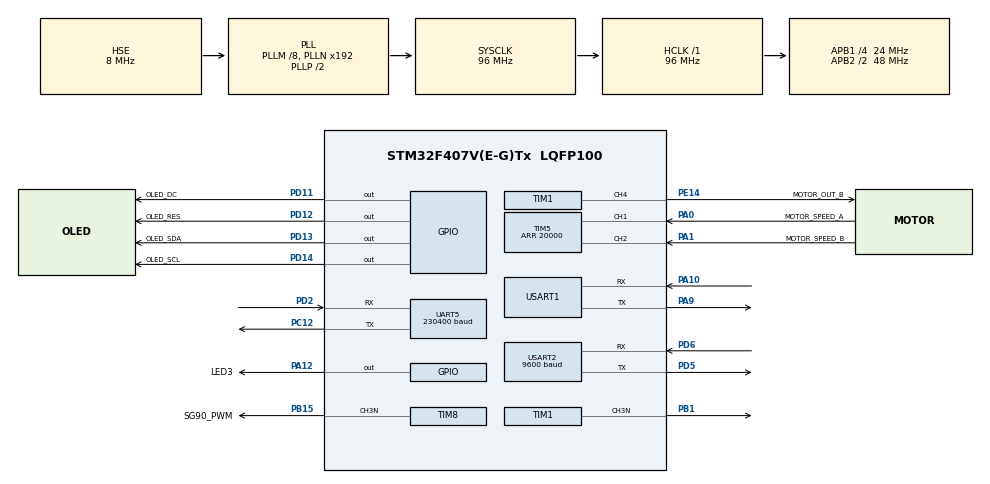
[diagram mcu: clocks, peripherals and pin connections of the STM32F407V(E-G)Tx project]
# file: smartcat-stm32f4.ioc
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Mcu.Family=STM32F4
Mcu.Name=STM32F407V(E-G)Tx
Mcu.Package=LQFP100
NVIC.PriorityGroup=NVIC_PRIORITYGROUP_4
NVIC.TIM3_IRQn=true\:0\:0\:false\:false\:true\:true\:true\:true
NVIC.TIM5_IRQn=true\:0\:0\:false\:false\:true\:true\:true\:true
NVIC.UART5_IRQn=true\:0\:0\:false\:false\:true\:true\:true\:true
NVIC.USART1_IRQn=true\:0\:0\:false\:false\:true\:true\:true\:true
NVIC.USART2_IRQn=true\:0\:0\:false\:false\:true\:true\:true\:true
PA0-WKUP.GPIO_Label=MOTOR_SPEED_A
PA0-WKUP.GPIO_PuPd=GPIO_PULLDOWN
PA0-WKUP.Signal=S_TIM5_CH1
PA1.GPIO_Label=MOTOR_SPEED_B
PA1.GPIO_PuPd=GPIO_PULLDOWN
PA1.Signal=S_TIM5_CH2
PA10.Mode=Asynchronous
PA10.Signal=USART1_RX
PA12.GPIO_Label=LED3
PA12.GPIO_PuPd=GPIO_PULLUP
PA12.Signal=GPIO_Output
PA13.Mode=Serial_Wire
PA13.Signal=SYS_JTMS-SWDIO
PA14.Mode=Serial_Wire
PA14.Signal=SYS_JTCK-SWCLK
PA9.Mode=Asynchronous
PA9.Signal=USART1_TX
PB1.Mode=PWM Generation3 CH3N
PB1.Signal=TIM1_CH3N
PB15.GPIO_Label=SG90_PWM
PB15.Mode=PWM Generation3 CH3N
PB15.Signal=TIM8_CH3N
PB3.GPIO_Label=MONTO_SPEED_B
PB3.GPIO_PuPd=GPIO_PULLUP
PB3.Signal=S_TIM2_CH2
PC12.Mode=Asynchronous
PC12.Signal=UART5_TX
PC14-OSC32_IN.Mode=LSE-External-Oscillator
PC14-OSC32_IN.Signal=RCC_OSC32_IN
PC15-OSC32_OUT.Mode=LSE-External-Oscillator
PC15-OSC32_OUT.Signal=RCC_OSC32_OUT
PD11.GPIO_Label=OLED_DC
PD11.GPIO_ModeDefaultOutputPP=GPIO_MODE_OUTPUT_PP
PD11.GPIO_PuPd=GPIO_NOPULL
PD11.GPIO_Speed=GPIO_SPEED_FREQ_HIGH
PD11.PinState=GPIO_PIN_SET
PD11.Signal=GPIO_Output
PD12.GPIO_Label=OLED_RES
PD12.GPIO_ModeDefaultOutputPP=GPIO_MODE_OUTPUT_PP
PD12.GPIO_PuPd=GPIO_NOPULL
PD12.GPIO_Speed=GPIO_SPEED_FREQ_HIGH
PD12.PinState=GPIO_PIN_SET
PD12.Signal=GPIO_Output
PD13.GPIO_Label=OLED_SDA
PD13.GPIO_ModeDefaultOutputPP=GPIO_MODE_OUTPUT_PP
PD13.GPIO_PuPd=GPIO_NOPULL
PD13.GPIO_Speed=GPIO_SPEED_FREQ_HIGH
PD13.PinState=GPIO_PIN_SET
PD13.Signal=GPIO_Output
PD14.GPIO_Label=OLED_SCL
PD14.GPIO_ModeDefaultOutputPP=GPIO_MODE_OUTPUT_PP
PD14.GPIO_PuPd=GPIO_NOPULL
PD14.GPIO_Speed=GPIO_SPEED_FREQ_HIGH
PD14.PinState=GPIO_PIN_SET
PD14.Signal=GPIO_Output
PD2.Mode=Asynchronous
PD2.Signal=UART5_RX
PD5.Mode=Asynchronous
PD5.Signal=USART2_TX
PD6.Mode=Asynchronous
PD6.Signal=USART2_RX
PE13.GPIO_Label=MOTOR_OUT_A
PE13.Signal=S_TIM1_CH3
PE14.GPIO_Label=MOTOR_OUT_B
PE14.Signal=S_TIM1_CH4
PH0-OSC_IN.Mode=HSE-External-Oscillator
PH0-OSC_IN.Signal=RCC_OSC_IN
PH1-OSC_OUT.Mode=HSE-External-Oscillator
PH1-OSC_OUT.Signal=RCC_OSC_OUT
ProjectManager.HeapSize=0x200
ProjectManager.StackSize=0x400
ProjectManager.TargetToolchain=MDK-ARM V5.32
RCC.48MHZClocksFreq_Value=48000000
RCC.AHBFreq_Value=96000000
RCC.APB1CLKDivider=RCC_HCLK_DIV4
RCC.APB1Freq_Value=24000000
RCC.APB1TimFreq_Value=48000000
RCC.APB2CLKDivider=RCC_HCLK_DIV2
RCC.APB2Freq_Value=48000000
RCC.APB2TimFreq_Value=96000000
RCC.CortexFreq_Value=96000000
RCC.HCLKFreq_Value=96000000
RCC.HSE_VALUE=8000000
RCC.HSI_VALUE=16000000
RCC.PLLM=8
RCC.PLLSourceVirtual=RCC_PLLSOURCE_HSE
RCC.SYSCLKFreq_VALUE=96000000
RCC.SYSCLKSource=RCC_SYSCLKSOURCE_PLLCLK
RCC.VCOOutputFreq_Value=192000000
SH.S_TIM1_CH3.0=TIM1_CH3
SH.S_TIM1_CH4.0=TIM1_CH4,PWM Generation4 CH4
SH.S_TIM2_CH2.0=TIM2_CH2
SH.S_TIM5_CH1.0=TIM5_CH1,Encoder_Interface
SH.S_TIM5_CH2.0=TIM5_CH2,Encoder_Interface
TIM1.AutoReloadPreload=TIM_AUTORELOAD_PRELOAD_ENABLE
TIM1.Channel-PWM\ Generation3\ CH3N=TIM_CHANNEL_3
TIM1.Channel-PWM\ Generation4\ CH4=TIM_CHANNEL_4
TIM1.Period=20000-1
TIM1.Prescaler=96-1
TIM1.Pulse-PWM\ Generation4\ CH4=500
TIM3.AutoReloadPreload=TIM_AUTORELOAD_PRELOAD_ENABLE
TIM3.Period=10000-1
TIM3.Prescaler=480-1
TIM5.AutoReloadPreload=TIM_AUTORELOAD_PRELOAD_ENABLE
TIM5.EncoderMode=TIM_ENCODERMODE_TI12
TIM5.IC1Filter=15
TIM5.IC2Filter=15
TIM5.Period=20000
TIM8.AutoReloadPreload=TIM_AUTORELOAD_PRELOAD_ENABLE
TIM8.Channel-PWM\ Generation3\ CH3=TIM_CHANNEL_3
TIM8.Channel-PWM\ Generation3\ CH3N=TIM_CHANNEL_3
TIM8.Channel-PWM\ Generation4\ CH4=TIM_CHANNEL_4
TIM8.Period=20000-1
TIM8.Prescaler=96-1
UART5.BaudRate=230400
UART5.Mode=MODE_RX
UART5.VirtualMode=Asynchronous
USART1.VirtualMode=VM_ASYNC
USART2.BaudRate=9600
USART2.VirtualMode=VM_ASYNC
VP_TIM1_VS_ClockSourceINT.Mode=Internal
VP_TIM3_VS_ClockSourceINT.Mode=Internal
VP_TIM8_VS_ClockSourceINT.Mode=Internal
board=custom

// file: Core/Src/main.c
/* USER CODE BEGIN Header */
/**
  ******************************************************************************
  * @file           : main.c
  * @brief          : Main program body
  ******************************************************************************
  * @attention
  *
  * Copyright (c) 2024 STMicroelectronics.
  * All rights reserved.
  *
  * This software is licensed under terms that can be found in the LICENSE file
  * in the root directory of this software component.
  * If no LICENSE file comes with this software, it is provided AS-IS.
  *
  ******************************************************************************
  */
/* USER CODE END Header */
#include "main.h"
#include "tim.h"
#include "usart.h"
#include "gpio.h"
#include "math.h"

#include "tern.h"
#include "linearRegression.h"
/* USER CODE BEGIN Includes */
#include "sg90.h"
#include "ms200.h"
#include "motor.h"
#include "oled.h"
#include "spcp.h"
#include "pid.h"
#include "string.h"
/* USER CODE END Includes */

/* USER CODE BEGIN PD */

/*
 * 变量和宏定义区
 * 下面是一些用于控制小车行为的参数和常量。
 * 每个宏后面都加了注释，方便理解其作用。
 */
#define NEAR_NUM 10 // 近距离判断的点数
#define DEFAULT_WARRING_DISTANCE 200 // 如果测距小于200mm，倒车
#define DEFAULT_SPEED 60 // 连续拐弯时的速度
#define DEFAULT_LOW_SPEED 60 // 转弯时的速度
#define DEFAULT_HIGH_SPEED 80 // 直道时的速度
#define DEFAULT_HIGH_DISTANCE 2000 // 最大速度对应的前方距离
#define DEFAULT_BACK_ANGLE 0 // 默认倒车转角
#define DEFAULT_AFTER_BACK_ANGLE 30 // 默认倒车后偏离的角度
#define DEFAULT_BACK_SPEED 75 // 默认倒车速度
#define DEFAULT_BACK_HIGH_SPEED 100 // 倒车时的高速
#define DEFAULT_BACK_TIMER 1000 // 默认倒退时间
#define DEFAULT_BACK_DISTANCE 450 // 默认车后距离不小于DEFAULT_BACK_DISTANCE
#define DEFAULT_STOP_SPEED -100 // 紧急止动速度
#define DEFAULT_RR_COEFFICIENT 0.5 // 右转系数
#define FRONT_JUDGE_POINTS 20 // 前方转角距离判断个数
#define CAR_LONG 40 // 小车长度，单位mm
#define CAR_WIDE 25 // 小车宽度，单位mm
#define MS200_DISTANCE_FRONT 5 // 激光雷达到车前的距离
#define MS200_DISTANCE_REAR 35 // 激光雷达到车后的距离
#define MS200_DISTANCE_SIDE 12 // 激光雷达到车侧的距离

/* -------------- 停车判断可调宏 --------------- */

// #define STOP_THR 20// 停车阈值，单位 mm
// #define CACHE_FRM 6//取点间隔
// #define point_number 5//取点数

#define STOP_62 132.0f
#define STOP_160 353.0f
#define STOP_203 350.0f
#define STOP_300 151.0f
#define back_time 12   //倒车时间戳
#define stop_woring 16.0f
#define start_time 120 //启动的时间戳，单位为循环的次数，实际调试时候去改变
#define left_woring 13.0f //左侧告警距离
#define right_woring 13.0f //右侧告警距离
/* -------------------------------------- */

/* USER CODE END PD */

void SystemClock_Config(void);

/* USER CODE BEGIN 0 */
 //定义处理雷达返回数据点的数量
#define SIZE 9
 //定义一个结构体来存储数据点的坐标
/*
 * DataPoint结构体
 * 用于存储激光雷达返回的点的坐标（x, y）
 */
typedef struct {
    double xDistance; // x方向距离
    double yDistance; // y方向距离
} DataPoint;
//定义一个DataPoint数组来存雷达返回数据点据点的坐标

/*
 * LidarRightpoints/LidarLeftpoints
 * 存储右侧/左侧激光雷达点的坐标
 */
DataPoint LidarRightpoints[SIZE + 1];
DataPoint LidarLeftpoints[SIZE + 1];
DataPoint Last_LidarRightpoints[SIZE + 1];
DataPoint Last_LidarLeftpoints[SIZE + 1];
MS200_Point* points;
 //定义线性回归的参数（斜率a和截距b）
/*
 * 线性回归参数
 * a为斜率，b为截距
 */
 double Right_a=0.0f;
 double Right_b=0.0f;

 double Left_a=0.0f;
 double Left_b=0.0f;
 /*
 * 不同场景下的转角PID参数
 * angle_pid_1: 直道
 * angle_pid_2: 普通弯道
 * angle_pid_3: 急弯
 */
static float angle_pid_1[3] = { 0.2,0.1};
static float angle_pid_2[3] = { 0.4,0.2};
 //定义存储从20degree开始逐次增加5，至60degree的正余弦值
/*
 * 预先计算好的正弦和余弦值数组
 * 用于将极坐标转换为直角坐标
 */
static double sin_values[9] = {
    0.3420201433, 0.4226182617, 0.5000000000,
    0.5735764364, 0.6427876097, 0.7071067812,
    0.7660444431, 0.8191520443, 0.8660254038
};
static double cos_values[9] = {
    0.9396926208, 0.9063077870, 0.8660254038,
    0.8191520443, 0.7660444431, 0.7071067812,
    0.6427876097, 0.5735764364, 0.5000000000
};
static float Kp, Kd;
/*
 * UART接收完成回调函数
 * 主要用于处理激光雷达数据
 * huart: 串口句柄
 */
void HAL_UART_RxCpltCallback(UART_HandleTypeDef *huart)
{
    if(huart->Instance == UART5)
    {
        MS200_ReceiveProcess();
    }
}

/* USER CODE END 0 */

/*
 * 激光雷达数据丢失点处理函数
 * i: 当前点的索引
 * points: 激光雷达点数组
 * currentData: 当前点的距离
 * lastData: 上一个有效点的距离
 */
void judge_data_abondan(int i , MS200_Point* points , float *currentData , float *lastData){
    *currentData = points[i].distance / 10;
    if(*currentData != 0){
        *lastData = *currentData;
    }
		else{
        if(*lastData != 0)
            *currentData = *lastData;
        else
            *currentData = 1;
    }
}

#define WINDOW_SIZE 7       // 窗口大小（建议奇数，对称窗口）
#define MAX_JUMP_DISTANCE 0.5f  // 使用float常量（f后缀）
//可以进一步优化，使用其他更为优化的算法
void robustSlidingWindowFilter(DataPoint* points, int size) {
    int i, j;
    for (i = WINDOW_SIZE/2; i < size-WINDOW_SIZE/2; i++) {
        float sum_x = 0.0f, sum_y = 0.0f;  // 改用float节省资源
        int valid_count = 0;

        // 检查窗口内每个点是否合理
        for (j = -WINDOW_SIZE/2; j <= WINDOW_SIZE/2; j++) {
            float dist_prev = hypotf(points[i+j-1].xDistance, points[i+j-1].yDistance); // 使用float版本
            float dist_curr = hypotf(points[i+j].xDistance, points[i+j].yDistance);

            // 跳变检测
            if (fabsf(dist_curr - dist_prev) < MAX_JUMP_DISTANCE) { // 使用float版本
                sum_x += points[i+j].xDistance;
                sum_y += points[i+j].yDistance;
                valid_count++;
            }
        }

        // 有效点足够时更新（至少需要窗口一半的有效点）
        if (valid_count > WINDOW_SIZE/2) {  // > 而非 >=，更严格
            points[i].xDistance = sum_x / valid_count;
            points[i].yDistance = sum_y / valid_count;
        }
    }
}

/*
 * 曲率计算函数
 * 用于判断赛道的弯曲程度
 * points: 点数组
 * size: 点的数量
 * a, b: 拟合直线的参数
 * 返回值: 曲率
 */
float calculateCurvature2D(DataPoint* points, int size, double a, double b) {
    float curvature = 0;
    for (int i = 0; i < size; ++i) {
        float y_pred = a * points[i].xDistance + b;
        curvature += pow(points[i].yDistance - y_pred, 2);
    }
    return curvature / size;
}

/*
 * 曲线拟合函数（最小二乘法）
 * 对一组点进行线性拟合，得到斜率a和截距b
 * points: 点数组
 * size: 点的数量
 * a: 输出斜率
 * b: 输出截距
 */

void curveFitting2D(DataPoint* points, int size, double* a, double* b) {
    double sum_x = 0, sum_y = 0, sum_x2 = 0, sum_xy = 0;
    for (int i = 0; i < size; ++i) {
			if(points[i].xDistance == 0){
				if(i == 0){
					points[i].xDistance = points[i + 1].xDistance;
				}

				else if(i == size - 1){
					points[i].xDistance = points[i - 1].xDistance;
				}
				else{
					points[i].xDistance = (points[i + 1].xDistance + points[i - 1].xDistance) / 2;
				}
			}
			if(points[i].yDistance == 0){
				if(i == 0){
					points[i].yDistance = points[i + 1].yDistance;
				}

				else if(i == size - 1){
					points[i].yDistance = points[i - 1].yDistance;
				}
				else{
					points[i].yDistance = (points[i + 1].yDistance + points[i - 1].yDistance) / 2;
				}
			}

        sum_x += points[i].xDistance;
        sum_y += points[i].yDistance;
        sum_x2 += points[i].xDistance * points[i].xDistance;
        sum_xy += points[i].xDistance * points[i].yDistance;
    }
    double denominator = size * sum_x2 - sum_x * sum_x;
		if (fabs(denominator) < 1e-6) {
        *a = 0;
        *b = (size > 0) ? sum_y / size : 0;
        return;
    }
    *a = (size * sum_xy - sum_x * sum_y) / denominator;
    *b = (sum_y * sum_x2 - sum_x * sum_xy) / denominator;
}

static float curvatureLeft;
static float curvatureRight;
static int speed;
static int mode=1;
//pid选择函数
//根据曲率选择pid参数
void pid_select(){
    for(int i=0;i<SIZE;i++){
				LidarRightpoints[i].xDistance = points[20 + i * 5].distance  * cos_values[i];
				LidarRightpoints[i].yDistance = points[20 + i * 5].distance  * sin_values[i];
				//如果非零，记录下来
				if(LidarRightpoints[i].xDistance != 0){
					Last_LidarRightpoints[i].xDistance = LidarRightpoints[i].xDistance;
					//如果为零，设为上次记录
				}else{
					LidarRightpoints[i].xDistance = Last_LidarRightpoints[i].xDistance;
				}

				if(LidarRightpoints[i].yDistance != 0){
					Last_LidarRightpoints[i].yDistance = LidarRightpoints[i].yDistance;
				}else{
					LidarRightpoints[i].yDistance = Last_LidarRightpoints[i].yDistance;
				}

				LidarLeftpoints[i].xDistance = points[340 - i * 5].distance  * cos_values[i];
				LidarLeftpoints[i].yDistance = points[340 - i * 5].distance  * sin_values[i];

				if(LidarLeftpoints[i].xDistance != 0){
					Last_LidarLeftpoints[i].xDistance = LidarLeftpoints[i].xDistance;
				}else{
					LidarLeftpoints[i].xDistance = Last_LidarLeftpoints[i].xDistance;
				}

				if(LidarLeftpoints[i].yDistance != 0){
					Last_LidarLeftpoints[i].yDistance = LidarLeftpoints[i].yDistance;
				}else{
					LidarLeftpoints[i].yDistance = Last_LidarLeftpoints[i].yDistance;
				}

			}

			// 数据预处理
			robustSlidingWindowFilter( LidarRightpoints, SIZE);
			robustSlidingWindowFilter( LidarLeftpoints, SIZE);

			// 赛道轮廓提取

			curveFitting2D(LidarRightpoints, SIZE, &Right_a, &Right_b);
			curveFitting2D(LidarLeftpoints, SIZE, &Left_a, &Left_b);

			// 赛道形状判断
			curvatureRight = calculateCurvature2D(LidarRightpoints, SIZE, Right_a, Right_b);
			curvatureLeft = calculateCurvature2D(LidarLeftpoints, SIZE, Left_a, Left_b);
			//根据曲率判断pid的选择
			if(curvatureRight > 5000.0 || curvatureLeft > 5000.0){
				Kp = angle_pid_2[0];
				Kd = angle_pid_2[1];
                speed = 55;
                mode=2;
			}else{
				Kp = angle_pid_1[0];
				Kd = angle_pid_1[1];
                speed = 70;
                mode=1;
			}
}

int diss[360];
double error_last = 0;
double error_last_reverse = 0;
int angle_0 = 0;
void Speed_Control(float speed){
	MOTOR_SetSpeed((int)speed);

}

void Servo_Control(float angle)
{
	angle_0 = angle;
	if (angle_0>30) angle_0=30;
	if (angle_0<-30) angle_0=-30;
	SG90_SetAngle((int)angle_0);
}

int avg_dis(int dis[], int n){
	int sum = 0;
	int count = 0;
	for (int i=0; i<n; ++i){
		if (dis[i]!=0){
			if (dis[i]<2000) sum += dis[i];
			else sum += 2000;
			++count;
		}
	}
	return sum / count;
}

void avoid_obstacle(){
	// 避免左右有障碍物的时候还往障碍物上撞
	int dis_min = 250; //临界距离，可以调整
	int dis_l = avg_dis(diss+110, 20);
	int dis_r = avg_dis(diss+232, 20);
	if (dis_l < dis_min && angle_0<0) Servo_Control(0);
	if (dis_r < dis_min && angle_0>0) Servo_Control(0);
}
void run(double kp, double kd, int max_dis)
{
	// lyh的idea 目前的最优算法 update at 2023.10.12
	// int dis_min_front = 9999; // 记录前方张角30度内的最短距离
	// // 计算前方张角30度内的最短距离
	// // for (int i=150; i<=210; ++i){
	// // 	if (diss[i]!=0 && diss[i]<dis_min_front) dis_min_front = diss[i];
	// // }
	// dis_min_front = avg_dis(diss+170,21);
	// // 如果前方有障碍物，那么小车减速
	// if (dis_min_front < 800 && dis_min_front >= 500) Speed_Control(60);
	// else if (dis_min_front < 500) Speed_Control(55);
	// else Speed_Control(70);
    Speed_Control(speed);
	// 计算前方赛道中心点的方位，使用pid逼近那个点
    int count = 0;
    int index1 = 0, dis1 = 0; // 临时变量
    int index2 = 0, dis2 = 0;
	double idx_1 = 0, idx_2 = 0; // 记录的最远的两个点的索引
	double dis_1 = 0, dis_2 = 0;

    // int idx_max = 0;
    double d_max = 0;

    for (int i = 90; i < 270; i++)
    {
        int dis = diss[i];
        if (dis > 0 && dis < max_dis)
        {
            count++;
            index1 = index2;
            dis1 = dis2;
            index2 = i;
            dis2 = dis;

            if (count > 1)
            {
                    // 此处的距离计算函数错误，但效果很好（？）
            double d = (double)(index2-index1) * (double)(dis1+dis2) / 2.0 + (double)((dis2-dis1)>0?(dis2-dis1):(dis1-dis2));
                    // 纠正回来了，但是效果一坨，不如上面的
                    // double d = (double)(index2-index1)* PI / 180 * (double)(dis1+dis2) / 2.0 + (double)((dis2-dis1)>0?(dis2-dis1):(dis1-dis2));
            if (d > d_max)
            {
                        idx_1 = index1;
                        idx_2 = index2;
                        dis_1 = dis1;
                        dis_2 = dis2;
                        d_max = d;
                    }
                }
        }
    }
    double target_angle;
	/*采用中线算法*/

	// double oppsite_side = sqrt(pow(dis_1, 2) + pow(dis_2, 2) - 2 * dis_1 * dis_2 * cos((idx_2 - idx_1) * PI / 180));
	// double mid_line = sqrt((pow(dis_1, 2)+pow(dis_2, 2))/2-pow(oppsite_side, 2)/4);
	// double offset_angle = acos((pow(dis_1, 2)+pow(mid_line, 2)-pow(oppsite_side/2, 2))/(2*dis_1*mid_line));
	// target_angle = idx_1 + offset_angle * 180 / PI;

	// /*采用比例算法*/
	double lambda=0.4;
	// if (diss[(int)idx_1]-diss[(int)idx_2] > 100) lambda = 0.6;
	// else lambda = 0.4;
	if (avg_dis(diss+175,10)>1100) lambda = 0.3333;
	else if (avg_dis(diss+175,10)>900) lambda = 0.4;
	else if (avg_dis(diss+175,10)>700) lambda = 0.425;
	else lambda = 0.45;
	// lambda = 0.45; // 先全部调成0.5 复刻第一轮
	double dot_ab = dis_1 * dis_2 * cos((idx_2 - idx_1) * PI / 180);
	double m = sqrt(pow(1-lambda,2)*pow(dis_1,2)+pow(lambda,2)*pow(dis_2,2)+2*(1-lambda)*lambda*dot_ab);
	double theta = acos(((1-lambda)*pow(dis_1,2)+lambda*dot_ab)/(dis_1*m))*180/PI;
	target_angle = idx_1 + theta;

	/*采用垂线算法*/
	//答辩
	// double dot_ab = dis_1 * dis_2 * cos((idx_2 - idx_1) * PI / 180);
	// double t = (pow(dis_2,2)-dot_ab)/(pow(dis_1,2)-2*dot_ab);
	// double theta = acos((t*pow(dis_1,2)+dot_ab)/(dis_1*sqrt(pow(t*dis_1,2)+pow(dis_2,2)+2*t*dot_ab)))*180/PI;
	// double target_angle = idx_1 + theta;

  double error = target_angle - 180;  // 逆时针转的时候error一般小于0，顺时针大于0
  int angle=kp * error + kd * (error - error_last);
  if(fabs(angle)<5)angle -=3;//弹道偏右的修正
    Servo_Control(angle);
	avoid_obstacle();
  error_last = error;
}

/*---------------------------xiahei的荣誉地带-----------------------------*/
int back_run_time = 0;
/*
*判断小车是否停止函数
*/

/*
 *后车轮判断
 *小车前进时对前方安全距离的判断
 *如果安全距离小于设置的阈值（stop_woring），则返回小于安全距离的位置
 *返回值：
 *左为1，右为2
 *负（车轮侧边距离足够，可倒车）
 *正（车轮侧边距离不够，不可倒车）
 * 0:无障碍物
 * 3:雷达未启动
 */
 int car_stop_judgment_front(MS200_Point* points,int car_time){

    float right_distance = 0;
    float left_distance = 0;
    int re_num = 0; //碰撞位置返回判断

    if(car_time < start_time){
        return 3;
    }

    //倒车时不对车前侧判断
    if(car_time < back_run_time)
        return 100;

    //左右轮数据去零
    if(points[90].distance < 30.0f){
        right_distance = 1000.0f;
    }else{
        right_distance = points[90].distance;   //向右测距
    }
    if(points[270].distance < 30.0f){
        left_distance = 1000.0f;
    }else{
        left_distance = points[270].distance;   //向左测距
    }

    if(points[62].distance < 30.0f || points[300].distance < 30.0f){
        return 0;
    }

   //车辆启动判断
    if(car_time < start_time)
        re_num = 3;

    //右前车轮判断
    if(points[62].distance < (STOP_62 + stop_woring)){
        re_num = 2;
    }

    //左前轮判断
    if(points[300].distance < (STOP_300 + stop_woring)){
        re_num = 1;
    }

    //左右侧距离判断，判断是否能够倒车
    if(right_distance > right_woring || left_distance > left_woring){
        re_num = -re_num;
    }

    return re_num;

}

/*
 *后车轮判断
 *小车倒车时对后方安全距离的判断
 *如果安全距离小于设置的阈值（stop_woring），则返回小于安全距离的位置
 *左为1，右为2
 *负（车轮侧边距离足够，可倒车）
 *正（车轮侧边距离不够，不可倒车）
 */
int car_stop_judgment_back(MS200_Point* points,int car_time){

    int re_num = 0;  //碰撞位置返回判断

    if(points[160].distance < 30.0f || points[203].distance < 30.0f)
        return 0;

    if(points[160].distance < (STOP_160 + 5 * stop_woring))
        return -2;
    if(points[203].distance < (STOP_203 + 5 * stop_woring))
        return -1;
}
/*
 * 倒车进行
 */
void run2(int stop_front,int stop_back,int car_time){

    if(stop_front == 0 ){
        run(Kp, Kd, 1250);
    }

    if(stop_front == -1 && car_time > back_run_time)
        back_run_time = car_time + back_time;

    if(stop_front == -2 && car_time >back_run_time)
        back_run_time = car_time + back_time;

    // if(stop_front == 2 && car_time > *back_run_time)
    //     *back_run_time = car_time + back_time;

    // if(stop_front == -2 && car_time > *back_run_time)
    //     *back_run_time = car_time + back_time;

    if(car_time < back_run_time){
        Speed_Control(-100);

        //左前轮撞墙
        if(stop_front == -1){
            Servo_Control(-30);
            if(stop_back == -1){
                Speed_Control(100);
                Servo_Control(30);
            }

        }

        //右前轮撞墙
        if(stop_front == -2){
            Servo_Control(30);
            if(stop_back == -2){
                Speed_Control(100);
                Servo_Control(-30);
            }
        }
    }

}
/*--------------------------xiahei的荣誉地带------------------------------*/
/*
 * 主函数
 * 程序入口，负责初始化硬件、主循环逻辑等double idx_1 = 0, idx_2 = 0; // 记录的最远的两个点的索引
	double dis_1 = 0, dis_2 = 0;
 * 返回值: 0
 */
int main(void){

  /* MCU Configuration--------------------------------------------------------*/

  /* Reset of all peripherals, Initializes the Flash interface and the Systick. */
  HAL_Init();

  /* Configure the system clock */
  SystemClock_Config();

  /* Initialize all configured peripherals */
  MX_GPIO_Init();
  MX_UART5_Init();
  MX_USART1_UART_Init();
  MX_TIM3_Init();
  MX_TIM5_Init();
  MX_TIM1_Init();
  MX_TIM8_Init();
  MX_USART2_UART_Init();
  /* USER CODE BEGIN 2 */
	SG90_Init();
	MS200_Init();
	MOTOR_Init();
	OLED_Init();

	SG90_SetAngle(0);

    int car_time = 0;
	while(1){
    OLED_Clear();
    points = MS200_GetPointsData();
	pid_select();
    static int remapped_diss[360];
    static	float currentData = 0.0f;
	static	float lastData = 0.0f;
    // 在一个循环内，直接从 points 读取，并存放到旋转后的正确位置
    for (int i = 0; i < 360; i++) {
    // 读取原始数据 points[i] (0度是前方)
    // 直接存入 remapped_diss 的目标位置 (180度是前方)
        judge_data_abondan(i, points, &currentData, &lastData);
        remapped_diss[(i + 180) % 360] = (int)points[i].distance;
    }

    // 最后一步仍然需要 memcpy，将排好序的数据复制回全局的 diss 数组
    memcpy(diss, remapped_diss, sizeof(diss));
  //         //坐标变换修正 ---
  //   #define RADAR_OFFSET_L 130.0f // 假设雷达前置了80毫米，这个值你需要自己精确测量！
  //   // 将修正后的数组声明为 static，可以避免反复在栈上创建，更安全稳定
  //   static int corrected_diss[360];

  //   for (int i = 0; i < 360; i++)
  //   {
  //   // 如果原始距离为0或无效，修正后也为0
  //     if (diss[i] <= 0) {
  //     corrected_diss[i] = 0;
  //     continue;
  //   }

  //   // 1. 将雷达数据转换到标准的数学坐标系
  //   //    小车前方为0度(X轴正方向)，逆时针为正
  //   //    雷达数据中180度是前方，所以需要减180度
  //   float angle_rad = (float)(i - 180) * PI / 180.0f;
  //   float d = (float)diss[i];

  //   // 2. 计算雷达探测点相对于小车旋转中心的直角坐标
  //   //    雷达在旋转中心前方 L 处，所以雷达的坐标是 (L, 0)
  //   //    探测点的坐标 = 雷达坐标 + d在各个方向上的分量
  //   float point_x = RADAR_OFFSET_L + d * cosf(angle_rad);
  //   float point_y = d * sinf(angle_rad);

  //   // 3. 计算该点相对于小车旋转中心的真实距离
  //   float new_dist = sqrtf(point_x * point_x + point_y * point_y);

  //   // 4. 【安全检查】检查计算结果是否是无效数字 (NaN)
  //   //    如果发生无效计算，就不要使用这个值，将其置为0
  //   if (isnan(new_dist)) {
  //     corrected_diss[i] = 0;
  //   } else {
  //     corrected_diss[i] = (int)new_dist;
  //   }
  // }

  // // 5. 使用修正后的数据覆盖原始数据，供 run() 函数使用
  // memcpy(diss, corrected_diss, sizeof(diss));

//	car_time++;
//    int stop = car_stop_judgment(points,car_time);//停车判断，1停车
//    int back_run_time = 0;
    car_time++;
    int stop_front = car_stop_judgment_front(points,car_time);//停车判断，1停车
    int stop_back = car_stop_judgment_back(points,car_time);

    OLED_Clear();
	OLED_ShowFloat(0,0,avg_dis(diss+175,10));
	OLED_ShowFloat(60,0,mode);
	OLED_ShowFloat(0,32,0.0f);
	OLED_ShowFloat(60,32,points[300].distance);
	OLED_ShowFloat(0,48, (double)stop_front);
	OLED_ShowFloat(60,48,(double)car_time);
	OLED_Display();

    run2(stop_front,stop_back,car_time);

    //run2(stop,car_time,&back_run_time);
			/* USER CODE END WHILE */

	}
}
void SystemClock_Config(void)
{
  RCC_OscInitTypeDef RCC_OscInitStruct = {0};
  RCC_ClkInitTypeDef RCC_ClkInitStruct = {0};

  /** Configure the main internal regulator output voltage
  */
  __HAL_RCC_PWR_CLK_ENABLE();
  __HAL_PWR_VOLTAGESCALING_CONFIG(PWR_REGULATOR_VOLTAGE_SCALE1);

  /** Initializes the RCC Oscillators according to the specified parameters
  * in the RCC_OscInitTypeDef structure.
  */
  RCC_OscInitStruct.OscillatorType = RCC_OSCILLATORTYPE_HSE;
  RCC_OscInitStruct.HSEState = RCC_HSE_ON;
  RCC_OscInitStruct.PLL.PLLState = RCC_PLL_ON;
  RCC_OscInitStruct.PLL.PLLSource = RCC_PLLSOURCE_HSE;
  RCC_OscInitStruct.PLL.PLLM = 8;
  RCC_OscInitStruct.PLL.PLLN = 192;
  RCC_OscInitStruct.PLL.PLLP = RCC_PLLP_DIV2;
  RCC_OscInitStruct.PLL.PLLQ = 4;
  if (HAL_RCC_OscConfig(&RCC_OscInitStruct) != HAL_OK)
  {
    Error_Handler();
  }

  /** Initializes the CPU, AHB and APB buses clocks
  */
  RCC_ClkInitStruct.ClockType = RCC_CLOCKTYPE_HCLK|RCC_CLOCKTYPE_SYSCLK
                              |RCC_CLOCKTYPE_PCLK1|RCC_CLOCKTYPE_PCLK2;
  RCC_ClkInitStruct.SYSCLKSource = RCC_SYSCLKSOURCE_PLLCLK;
  RCC_ClkInitStruct.AHBCLKDivider = RCC_SYSCLK_DIV1;
  RCC_ClkInitStruct.APB1CLKDivider = RCC_HCLK_DIV4;
  RCC_ClkInitStruct.APB2CLKDivider = RCC_HCLK_DIV2;

  if (HAL_RCC_ClockConfig(&RCC_ClkInitStruct, FLASH_LATENCY_3) != HAL_OK)
  {
    Error_Handler();
  }
}

void Error_Handler(void)
{
  __disable_irq();
  while (1)
  {
  }
}
